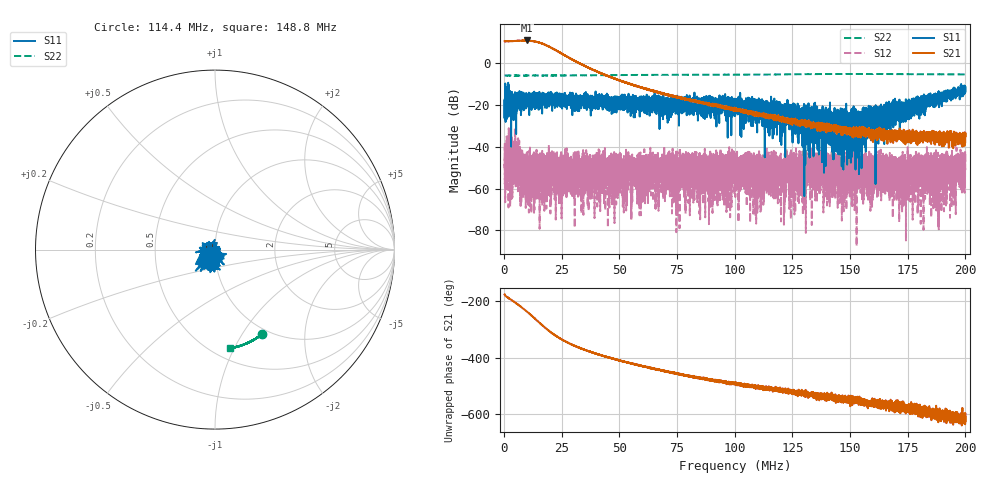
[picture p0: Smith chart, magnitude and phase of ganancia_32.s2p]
# Hz S DB R 50
! CMT, M5065, 19127446, 24.2.4/2
! Date: 11/8/2024 4:03:34 PM
! Data: Format (Calibration Info)
! Freq	S11:dB/Ang(F2)	S21:dB/Ang(F2)	S12:dB/Ang(F2)	S22:dB/Ang(F2)
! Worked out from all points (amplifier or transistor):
!   9000 points, 300 kHz to 200 MHz, reference 50 ohm
!   highest |S21| = 11.0 dB at 10.06 MHz (marker M1)
!   |S21| within 3 dB of that: start of sweep to 19.55 MHz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
!   unconditionally stable (mu >= 1): start of sweep to end of sweep
!   at 33.59 MHz: K = 1490.72, MAG = 0.9 dB, |S12| = -71.9 dB
!   at 100.2 MHz: K = 1660.29, MAG = -20.3 dB, |S12| = -51.7 dB
!   at 200 MHz: K = 2223.11, MAG = -32.0 dB, |S12| = -42.8 dB
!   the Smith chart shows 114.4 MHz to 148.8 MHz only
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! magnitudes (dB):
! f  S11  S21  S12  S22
! 300 kHz  -25.8  10.6  -48.4  -5.8
! 1.521 MHz  -13.9  10.5  -46.7  -5.9
! 10.06 MHz  -15.5  11.0  -48.0  -5.8
! 17.61 MHz  -16.2  9.1  -45.6  -5.8
! 33.59 MHz  -17.0  -0.5  -71.9  -5.7
! 66.87 MHz  -19.8  -13.8  -48.6  -5.5
! 100.2 MHz  -19.9  -21.8  -51.7  -5.4
! 110.9 MHz  -21.5  -24.2  -55.0  -5.4
! 116.5 MHz  -35.9  -25.3  -49.6  -5.3
! 120.8 MHz  -23.7  -27.5  -49.7  -5.3
! 123.3 MHz  -28.0  -27.2  -51.5  -5.3
! 129.5 MHz  -25.5  -29.5  -55.4  -5.2
! 133.4 MHz  -28.4  -29.9  -58.7  -5.2
! 140.2 MHz  -23.0  -29.6  -57.3  -5.1
! 154 MHz  -31.6  -32.2  -51.3  -5.1
! 156.4 MHz  -24.6  -33.8  -45.2  -5.1
! 160.5 MHz  -21.3  -34.6  -53.4  -5.1
! 166.7 MHz  -20.7  -33.8  -51.9  -5.1
! 192.2 MHz  -14.8  -34.3  -42.6  -5.3
! 194.3 MHz  -14.5  -34.1  -46.2  -5.3
! 199 MHz  -13.2  -34.3  -45.1  -5.3
! 200 MHz  -11.7  -33.9  -42.8  -5.3
